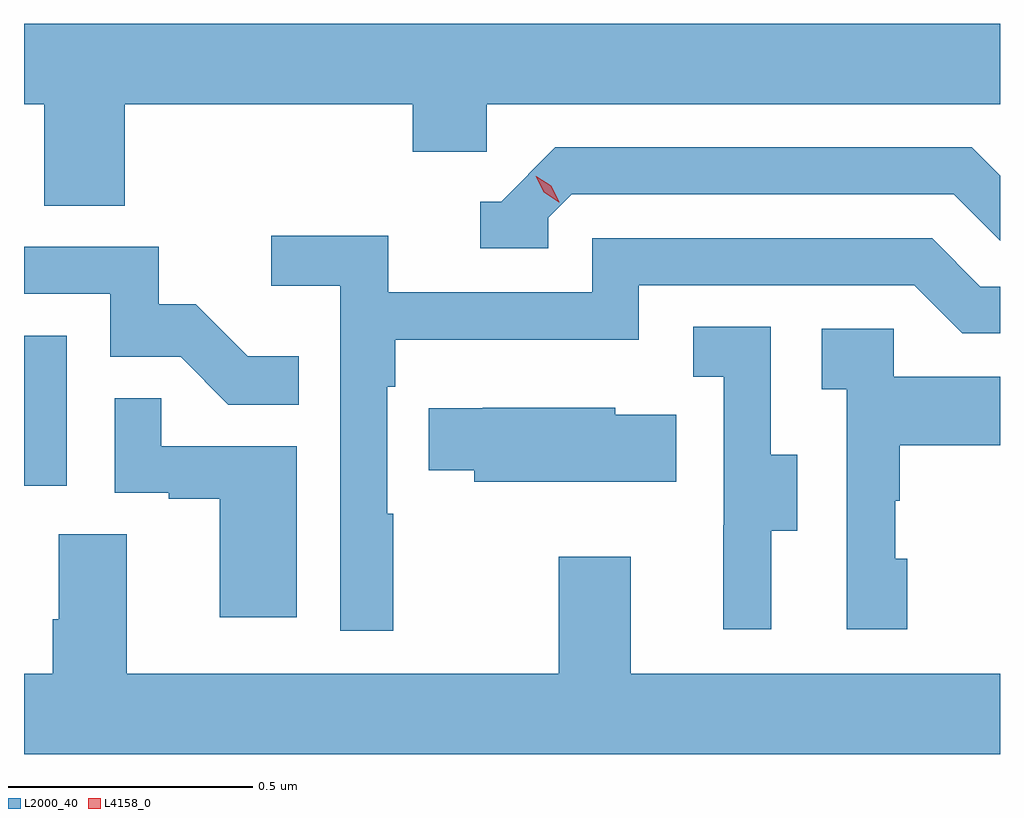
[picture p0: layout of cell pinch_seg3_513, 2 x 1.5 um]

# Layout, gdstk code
import gdstk
lib = gdstk.Library(unit=1e-6, precision=1e-09)
def R(c, l, rs):  # rectangles x0, y0, x1, y1
    for r in rs: c.add(gdstk.rectangle(r[:2], r[2:], *l))
def P(c, l, *ps):  # polygons
    for p in ps: c.add(gdstk.Polygon(p, *l))
L2000_40 = (2000, 40)
L4158_0 = (4158, 0)

pinch_seg3_513 = lib.new_cell('pinch_seg3_513')
R(pinch_seg3_513, L2000_40, [(983.466,678.822,983.554,679.129)])
P(pinch_seg3_513, L2000_40, [(983.672,679.604),(984.263,679.604),(984.263,679.506),(984.414,679.506),(984.414,679.604),(985.466,679.604),(985.466,679.768),(983.466,679.768),(983.466,679.604),(983.507,679.604),(983.507,679.396),(983.672,679.396)],
  [(984.54,679.371),(984.588,679.419),(985.371,679.419),(985.466,679.324),(985.466,679.457),(985.408,679.515),(984.555,679.515),(984.444,679.404),(984.401,679.404),(984.401,679.308),(984.54,679.308)],
  [(984.223,678.764),(984.21,678.764),(984.21,679.025),(984.227,679.025),(984.227,679.121),(984.726,679.121),(984.726,679.233),(985.29,679.233),(985.389,679.134),(985.466,679.134),(985.466,679.23),(985.426,679.23),(985.327,679.329),(984.63,679.329),(984.63,679.218),(984.212,679.218),(984.212,679.334),(983.973,679.334),(983.973,679.232),(984.114,679.232),(984.114,678.525),(984.223,678.525)],
  [(984.029,679.087),(983.925,679.087),(983.818,679.194),(983.742,679.194),(983.742,679.311),(983.466,679.311),(983.466,679.215),(983.643,679.215),(983.643,679.086),(983.787,679.086),(983.885,678.988),(984.029,678.988)],
  [(984.997,678.73),(985.051,678.73),(985.051,678.885),(984.996,678.885),(984.996,679.148),(984.837,679.148),(984.837,679.045),(984.9,679.045),(984.9,678.741),(984.899,678.741),(984.899,678.528),(984.997,678.528)],
  [(985.276,678.672),(985.251,678.672),(985.251,678.791),(985.261,678.791),(985.261,678.905),(985.466,678.905),(985.466,679.045),(985.248,679.045),(985.248,679.143),(985.101,679.143),(985.101,679.019),(985.152,679.019),(985.152,678.528),(985.276,678.528)],
  [(984.025,678.903),(983.747,678.903),(983.747,679.001),(983.652,679.001),(983.652,678.807),(983.763,678.807),(983.763,678.795),(983.867,678.795),(983.867,678.552),(984.025,678.552)],
  [(984.803,678.967),(984.678,678.967),(984.678,678.982),(984.406,678.982),(984.406,678.981),(984.295,678.981),(984.295,678.853),(984.389,678.853),(984.389,678.83),(984.803,678.83)],
  [(985.466,678.436),(984.709,678.436),(984.709,678.676),(984.562,678.676),(984.562,678.436),(983.677,678.436),(983.677,678.722),(983.537,678.722),(983.537,678.548),(983.525,678.548),(983.525,678.436),(983.466,678.436),(983.466,678.272),(985.466,678.272)])
P(pinch_seg3_513, L4158_0, [(984.562,679.403),(984.531,679.423),(984.515,679.456),(984.515,679.456),(984.516,679.456),(984.546,679.436),(984.563,679.404),(984.563,679.403)])

lib.write_gds('pinch_seg3_513.gds')
